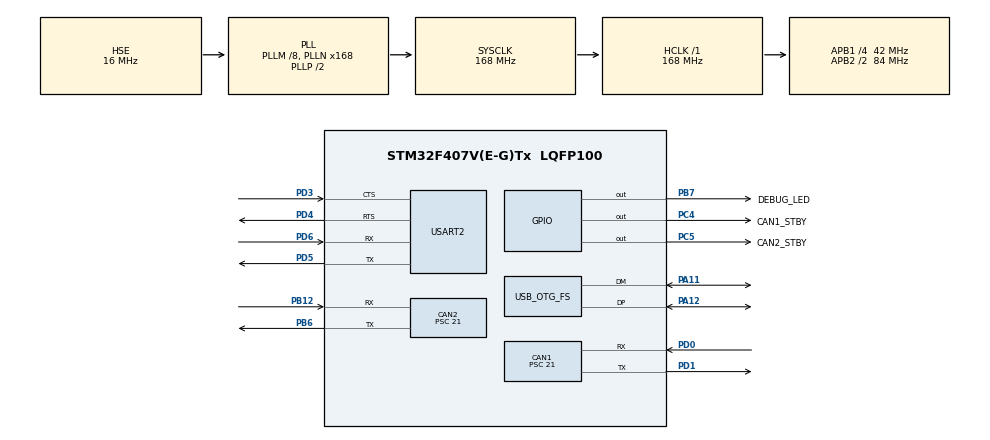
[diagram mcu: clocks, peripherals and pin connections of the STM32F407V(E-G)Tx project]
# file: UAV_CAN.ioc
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CAN1.BS1=CAN_BS1_14TQ
CAN1.BS2=CAN_BS2_5TQ
CAN1.CalculateBaudRate=100000
CAN1.CalculateTimeBit=10000
CAN1.CalculateTimeQuantum=500.0
CAN1.Prescaler=21
CAN2.BS1=CAN_BS1_14TQ
CAN2.BS2=CAN_BS2_5TQ
CAN2.CalculateBaudRate=100000
CAN2.CalculateTimeBit=10000
CAN2.CalculateTimeQuantum=500.0
CAN2.Prescaler=21
Mcu.Family=STM32F4
Mcu.Name=STM32F407V(E-G)Tx
Mcu.Package=LQFP100
NVIC.CAN1_RX0_IRQn=true\:0\:0\:false\:false\:true\:true\:true\:true
NVIC.CAN1_TX_IRQn=true\:0\:0\:false\:false\:true\:true\:true\:true
NVIC.CAN2_RX0_IRQn=true\:0\:0\:false\:false\:true\:true\:true\:true
NVIC.OTG_FS_IRQn=true\:0\:0\:false\:false\:true\:false\:true\:true
NVIC.PriorityGroup=NVIC_PRIORITYGROUP_4
NVIC.USART2_IRQn=true\:0\:0\:false\:false\:true\:true\:true\:true
PA11.Mode=Device_Only
PA11.Signal=USB_OTG_FS_DM
PA12.Mode=Device_Only
PA12.Signal=USB_OTG_FS_DP
PA13.Mode=Serial_Wire
PA13.Signal=SYS_JTMS-SWDIO
PA14.Mode=Serial_Wire
PA14.Signal=SYS_JTCK-SWCLK
PB12.Mode=CAN_Activate
PB12.Signal=CAN2_RX
PB6.Mode=CAN_Activate
PB6.Signal=CAN2_TX
PB7.GPIO_Label=DEBUG_LED
PB7.Signal=GPIO_Output
PC4.GPIO_Label=CAN1_STBY
PC4.Signal=GPIO_Output
PC5.GPIO_Label=CAN2_STBY
PC5.Signal=GPIO_Output
PD0.Mode=CAN_Activate
PD0.Signal=CAN1_RX
PD1.Mode=CAN_Activate
PD1.Signal=CAN1_TX
PD3.Mode=CTS_RTS
PD3.Signal=USART2_CTS
PD4.Mode=CTS_RTS
PD4.Signal=USART2_RTS
PD5.Mode=Asynchronous
PD5.Signal=USART2_TX
PD6.Mode=Asynchronous
PD6.Signal=USART2_RX
PH0-OSC_IN.Mode=HSE-External-Oscillator
PH0-OSC_IN.Signal=RCC_OSC_IN
PH1-OSC_OUT.Mode=HSE-External-Oscillator
PH1-OSC_OUT.Signal=RCC_OSC_OUT
ProjectManager.HeapSize=0x200
ProjectManager.StackSize=0x400
ProjectManager.TargetToolchain=STM32CubeIDE
RCC.48MHZClocksFreq_Value=48000000
RCC.AHBFreq_Value=168000000
RCC.APB1CLKDivider=RCC_HCLK_DIV4
RCC.APB1Freq_Value=42000000
RCC.APB1TimFreq_Value=84000000
RCC.APB2CLKDivider=RCC_HCLK_DIV2
RCC.APB2Freq_Value=84000000
RCC.APB2TimFreq_Value=168000000
RCC.CortexFreq_Value=168000000
RCC.HCLKFreq_Value=168000000
RCC.HSE_VALUE=16000000
RCC.HSI_VALUE=16000000
RCC.LSE_VALUE=32768
RCC.PLLM=8
RCC.PLLN=168
RCC.PLLQ=7
RCC.SYSCLKFreq_VALUE=168000000
RCC.SYSCLKSource=RCC_SYSCLKSOURCE_PLLCLK
RCC.VCOOutputFreq_Value=336000000
USART2.VirtualMode=VM_ASYNC
USB_DEVICE.CLASS_NAME_FS=CDC
USB_DEVICE.VirtualMode-CDC_FS=Cdc
USB_DEVICE.VirtualModeFS=Cdc_FS
USB_OTG_FS.VirtualMode=Device_Only
VP_USB_DEVICE_VS_USB_DEVICE_CDC_FS.Mode=CDC_FS
board=custom

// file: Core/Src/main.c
/* USER CODE BEGIN Header */
/**
  ******************************************************************************
  * @file           : main.c
  * @brief          : Main program body
  * @detail 		: CAN1 <-> CAN2 loop back test
  ******************************************************************************
  * @attention
  *
  * Copyright (c) 2025 STMicroelectronics.
  * All rights reserved.
  *
  * This software is licensed under terms that can be found in the LICENSE file
  * in the root directory of this software component.
  * If no LICENSE file comes with this software, it is provided AS-IS.
  *
  ******************************************************************************
  */
/* USER CODE END Header */
#include "main.h"
#include "usb_device.h"

CAN_HandleTypeDef hcan1;
CAN_HandleTypeDef hcan2;

UART_HandleTypeDef huart2;

/* USER CODE BEGIN PV */
uint8_t can2_rx_flag = 0;

CAN_TxHeaderTypeDef txHeader;
CAN_RxHeaderTypeDef rxHeader;
/*
 * 필터 설정 구조체 변수
 * 필터 하나에 CAN1/2가 모두 적용된다. 필터 구현체는 CAN1_init에 있음
 */
CAN_FilterTypeDef  sFilterConfig;
uint8_t rxData[8];

/* USER CODE END PV */

void SystemClock_Config(void);
static void MX_GPIO_Init(void);
static void MX_CAN1_Init(void);
static void MX_CAN2_Init(void);
static void MX_USART2_UART_Init(void);
/* USER CODE BEGIN PFP */
//void MY_CAN_TxMailbox0CompleteCallback(CAN_HandleTypeDef *hcan);
//void MY_CAN_TxMailbox1CompleteCallback(CAN_HandleTypeDef *hcan);
//void MY_CAN_TxMailbox2CompleteCallback(CAN_HandleTypeDef *hcan);
//void MY_CAN_RxFifo0MsgPendingCallback(CAN_HandleTypeDef *hcan);

/* USER CODE END PFP */

int main(void)
{

  /* MCU Configuration--------------------------------------------------------*/

  /* Reset of all peripherals, Initializes the Flash interface and the Systick. */
  HAL_Init();

  /* Configure the system clock */
  SystemClock_Config();

  /* Initialize all configured peripherals */
  MX_GPIO_Init();
  MX_USB_DEVICE_Init();
  MX_CAN1_Init();
  MX_CAN2_Init();
  MX_USART2_UART_Init();
  /* USER CODE BEGIN 2 */

  HAL_CAN_Start(&hcan1);
  HAL_CAN_Start(&hcan2);

  // ATA6561 CAN Chip, Normal mode
  HAL_GPIO_WritePin(CAN1_STBY_GPIO_Port, CAN1_STBY_Pin, 0);
  HAL_GPIO_WritePin(CAN2_STBY_GPIO_Port, CAN2_STBY_Pin, 0);
  /* USER CODE END 2 */

  /* Infinite loop */
  /* USER CODE BEGIN WHILE */
  while (1)
  {
	  // HAL_GPIO_WritePin(CAN1_STBY_GPIO_Port, CAN1_STBY_Pin, 1);

	  uint8_t txData[8] = {0x44, 0x33, 0x22, 0x11, 0x55, 0x66, 0x77, 0x88};

	  /* CAN Tx Header 설정 */
	  txHeader.StdId = 0x102;                 // Standard Identifier, 0 ~ 0x7FF
	  txHeader.RTR = CAN_RTR_DATA;            // 전송하는 메세지의 프레임 타입, DATA or REMOTE
	  txHeader.IDE = CAN_ID_STD;              // 전송하는 메세지의 식별자 타입, STD or EXT
	  txHeader.DLC = 8;                       // 송신 프레임 길이, 0 ~ 8 byte

	  uint32_t txMailbox = HAL_CAN_GetTxMailboxesFreeLevel(&hcan1);
	  HAL_CAN_AddTxMessage(&hcan1, &txHeader, &txData[0], &txMailbox);
	  txMailbox = HAL_CAN_GetTxMailboxesFreeLevel(&hcan2);
	  HAL_CAN_AddTxMessage(&hcan2, &txHeader, &txData[0], &txMailbox);

	  if (can2_rx_flag)
	  {
		  can2_rx_flag = 0;

		  uint8_t Msg[80];
		  uint8_t len;
		  len = sprintf((char*)(&Msg[0]), "%x %x %x %x\n\r", rxData[0], rxData[1], rxData[2], rxData[3]);
		  CDC_Transmit_FS(Msg, len);
	  }
	  HAL_Delay(100);

    /* USER CODE END WHILE */

  }
}

void SystemClock_Config(void)
{
  RCC_OscInitTypeDef RCC_OscInitStruct = {0};
  RCC_ClkInitTypeDef RCC_ClkInitStruct = {0};

  /** Configure the main internal regulator output voltage
  */
  __HAL_RCC_PWR_CLK_ENABLE();
  __HAL_PWR_VOLTAGESCALING_CONFIG(PWR_REGULATOR_VOLTAGE_SCALE1);

  /** Initializes the RCC Oscillators according to the specified parameters
  * in the RCC_OscInitTypeDef structure.
  */
  RCC_OscInitStruct.OscillatorType = RCC_OSCILLATORTYPE_HSE;
  RCC_OscInitStruct.HSEState = RCC_HSE_ON;
  RCC_OscInitStruct.PLL.PLLState = RCC_PLL_ON;
  RCC_OscInitStruct.PLL.PLLSource = RCC_PLLSOURCE_HSE;
  RCC_OscInitStruct.PLL.PLLM = 8;
  RCC_OscInitStruct.PLL.PLLN = 168;
  RCC_OscInitStruct.PLL.PLLP = RCC_PLLP_DIV2;
  RCC_OscInitStruct.PLL.PLLQ = 7;
  if (HAL_RCC_OscConfig(&RCC_OscInitStruct) != HAL_OK)
  {
    Error_Handler();
  }

  /** Initializes the CPU, AHB and APB buses clocks
  */
  RCC_ClkInitStruct.ClockType = RCC_CLOCKTYPE_HCLK|RCC_CLOCKTYPE_SYSCLK
                              |RCC_CLOCKTYPE_PCLK1|RCC_CLOCKTYPE_PCLK2;
  RCC_ClkInitStruct.SYSCLKSource = RCC_SYSCLKSOURCE_PLLCLK;
  RCC_ClkInitStruct.AHBCLKDivider = RCC_SYSCLK_DIV1;
  RCC_ClkInitStruct.APB1CLKDivider = RCC_HCLK_DIV4;
  RCC_ClkInitStruct.APB2CLKDivider = RCC_HCLK_DIV2;

  if (HAL_RCC_ClockConfig(&RCC_ClkInitStruct, FLASH_LATENCY_5) != HAL_OK)
  {
    Error_Handler();
  }
}

static void MX_CAN1_Init(void)
{

  hcan1.Instance = CAN1;
  hcan1.Init.Prescaler = 21;
  hcan1.Init.Mode = CAN_MODE_NORMAL;
  hcan1.Init.SyncJumpWidth = CAN_SJW_1TQ;
  hcan1.Init.TimeSeg1 = CAN_BS1_14TQ;
  hcan1.Init.TimeSeg2 = CAN_BS2_5TQ;
  hcan1.Init.TimeTriggeredMode = DISABLE;
  hcan1.Init.AutoBusOff = DISABLE;
  hcan1.Init.AutoWakeUp = DISABLE;
  hcan1.Init.AutoRetransmission = DISABLE;
  hcan1.Init.ReceiveFifoLocked = DISABLE;
  hcan1.Init.TransmitFifoPriority = DISABLE;
  if (HAL_CAN_Init(&hcan1) != HAL_OK)
  {
    Error_Handler();
  }
  /* USER CODE BEGIN CAN1_Init 2 */
  /* CAN Filter 설정 */
  sFilterConfig.FilterMaskIdHigh = 0x07F3 << 5;
  sFilterConfig.FilterIdHigh = 0x106 << 5;
  sFilterConfig.FilterMaskIdLow = 0x07F3 << 5;
  sFilterConfig.FilterIdLow = 0x106 << 5;

  sFilterConfig.FilterMode = CAN_FILTERMODE_IDMASK;
  sFilterConfig.FilterScale = CAN_FILTERSCALE_16BIT;
  sFilterConfig.FilterFIFOAssignment = CAN_RX_FIFO0;
  sFilterConfig.FilterBank = 0;						// 필터쌍의 갯수
  sFilterConfig.FilterActivation = ENABLE;

  HAL_CAN_ConfigFilter(&hcan1, &sFilterConfig);

  /* CAN 인터럽트 설정 */
  HAL_CAN_ActivateNotification(&hcan1, CAN_IT_RX_FIFO0_MSG_PENDING );
  /* USER CODE END CAN1_Init 2 */

}

static void MX_CAN2_Init(void)
{

  hcan2.Instance = CAN2;
  hcan2.Init.Prescaler = 21;
  hcan2.Init.Mode = CAN_MODE_NORMAL;
  hcan2.Init.SyncJumpWidth = CAN_SJW_1TQ;
  hcan2.Init.TimeSeg1 = CAN_BS1_14TQ;
  hcan2.Init.TimeSeg2 = CAN_BS2_5TQ;
  hcan2.Init.TimeTriggeredMode = DISABLE;
  hcan2.Init.AutoBusOff = DISABLE;
  hcan2.Init.AutoWakeUp = DISABLE;
  hcan2.Init.AutoRetransmission = DISABLE;
  hcan2.Init.ReceiveFifoLocked = DISABLE;
  hcan2.Init.TransmitFifoPriority = DISABLE;
  if (HAL_CAN_Init(&hcan2) != HAL_OK)
  {
    Error_Handler();
  }
  /* USER CODE BEGIN CAN2_Init 2 */

  sFilterConfig.FilterBank = 14;						// 필터 번호
  sFilterConfig.SlaveStartFilterBank = 14;              // CAN2의 FilterBank시작 위치, CAN2를 사용한다면 FilterBank를 SlaveStartFilterBank보다 크게 설정해야 함.

  HAL_CAN_ConfigFilter(&hcan2, &sFilterConfig);
  // CAN 인터럽트 설정
  HAL_CAN_ActivateNotification(&hcan2, CAN_IT_RX_FIFO0_MSG_PENDING);
  /* USER CODE END CAN2_Init 2 */

}

static void MX_USART2_UART_Init(void)
{

  huart2.Instance = USART2;
  huart2.Init.BaudRate = 115200;
  huart2.Init.WordLength = UART_WORDLENGTH_8B;
  huart2.Init.StopBits = UART_STOPBITS_1;
  huart2.Init.Parity = UART_PARITY_NONE;
  huart2.Init.Mode = UART_MODE_TX_RX;
  huart2.Init.HwFlowCtl = UART_HWCONTROL_RTS_CTS;
  huart2.Init.OverSampling = UART_OVERSAMPLING_16;
  if (HAL_UART_Init(&huart2) != HAL_OK)
  {
    Error_Handler();
  }

}

static void MX_GPIO_Init(void)
{
  GPIO_InitTypeDef GPIO_InitStruct = {0};

  /* GPIO Ports Clock Enable */
  __HAL_RCC_GPIOH_CLK_ENABLE();
  __HAL_RCC_GPIOC_CLK_ENABLE();
  __HAL_RCC_GPIOB_CLK_ENABLE();
  __HAL_RCC_GPIOA_CLK_ENABLE();
  __HAL_RCC_GPIOD_CLK_ENABLE();

  /*Configure GPIO pin Output Level */
  HAL_GPIO_WritePin(GPIOC, CAN1_STBY_Pin|CAN2_STBY_Pin, GPIO_PIN_RESET);

  /*Configure GPIO pin Output Level */
  HAL_GPIO_WritePin(DEBUG_LED_GPIO_Port, DEBUG_LED_Pin, GPIO_PIN_RESET);

  /*Configure GPIO pins : CAN1_STBY_Pin CAN2_STBY_Pin */
  GPIO_InitStruct.Pin = CAN1_STBY_Pin|CAN2_STBY_Pin;
  GPIO_InitStruct.Mode = GPIO_MODE_OUTPUT_PP;
  GPIO_InitStruct.Pull = GPIO_NOPULL;
  GPIO_InitStruct.Speed = GPIO_SPEED_FREQ_LOW;
  HAL_GPIO_Init(GPIOC, &GPIO_InitStruct);

  /*Configure GPIO pin : DEBUG_LED_Pin */
  GPIO_InitStruct.Pin = DEBUG_LED_Pin;
  GPIO_InitStruct.Mode = GPIO_MODE_OUTPUT_PP;
  GPIO_InitStruct.Pull = GPIO_NOPULL;
  GPIO_InitStruct.Speed = GPIO_SPEED_FREQ_LOW;
  HAL_GPIO_Init(DEBUG_LED_GPIO_Port, &GPIO_InitStruct);

}

/* USER CODE BEGIN 4 */

void HAL_CAN_RxFifo0MsgPendingCallback(CAN_HandleTypeDef *hcan)
{
	if(hcan->Instance == CAN1)
	{

		if (HAL_CAN_GetRxMessage(&hcan1, CAN_RX_FIFO0, &rxHeader, &rxData[0]) == HAL_OK)
		{
			can2_rx_flag = 1;
		}
	}
	if(hcan->Instance == CAN2)
	{

		if (HAL_CAN_GetRxMessage(&hcan2, CAN_RX_FIFO0, &rxHeader, &rxData[0]) == HAL_OK)
		{
			can2_rx_flag = 1;
		}
	}
}

/* USER CODE END 4 */

void Error_Handler(void)
{
	__disable_irq();
	while (1)
	{
	}
}
